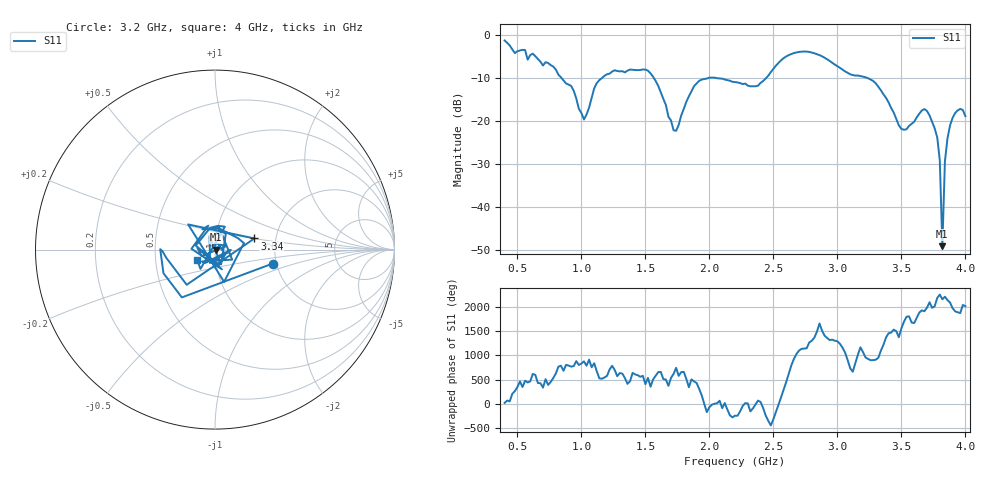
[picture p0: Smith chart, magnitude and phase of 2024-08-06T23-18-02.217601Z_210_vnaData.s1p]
!Created with skrf (http://scikit-rf.org).
# Hz S RI R 50.0
!freq ReS11 ImS11
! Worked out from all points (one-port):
!   181 points, 400 MHz to 4 GHz, reference 50 ohm
!   lowest |S11| = -49.1 dB at 3.82 GHz (marker M1), VSWR 1.01, Z = 50.3 - j0.0607 ohm
!   |S11| at or under -10 dB: 1.567 GHz to 1.987 GHz (419.6 MHz wide, 23.6 % of centre); 2.062 GHz to 2.442 GHz (380.2 MHz wide, 16.9 % of centre); 3.239 GHz to end of sweep (the widest 3 of 4)
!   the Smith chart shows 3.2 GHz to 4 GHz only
!   S11 on the Smith chart (normalised r, x): 3.2 GHz: 1.91, -0.33; 3.34 GHz: 1.55, +0.20; 4 GHz: 0.81, -0.09
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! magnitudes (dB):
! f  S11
! 400 MHz  -1.2
! 860 MHz  -10.5
! 920 MHz  -11.8
! 1.02 GHz  -19.6
! 1.12 GHz  -11.1
! 1.3 GHz  -8.4
! 1.52 GHz  -8.2
! 1.6 GHz  -11.8
! 1.72 GHz  -22.1
! 1.76 GHz  -20.9
! 1.92 GHz  -10.6
! 2.2 GHz  -10.9
! 2.38 GHz  -11.7
! 2.66 GHz  -4.1
! 2.86 GHz  -4.6
! 3.1 GHz  -9.1
! 3.2 GHz  -9.6
! 3.34 GHz  -12.8
! 3.5 GHz  -21.8
! 3.56 GHz  -21.1
! 3.68 GHz  -17.2
! 3.78 GHz  -23.8
! 3.8 GHz  -29.1
! 3.82 GHz  -49.1
! 3.84 GHz  -29.4
! 3.86 GHz  -24.1
! 3.92 GHz  -18.1
! 4 GHz  -18.8
